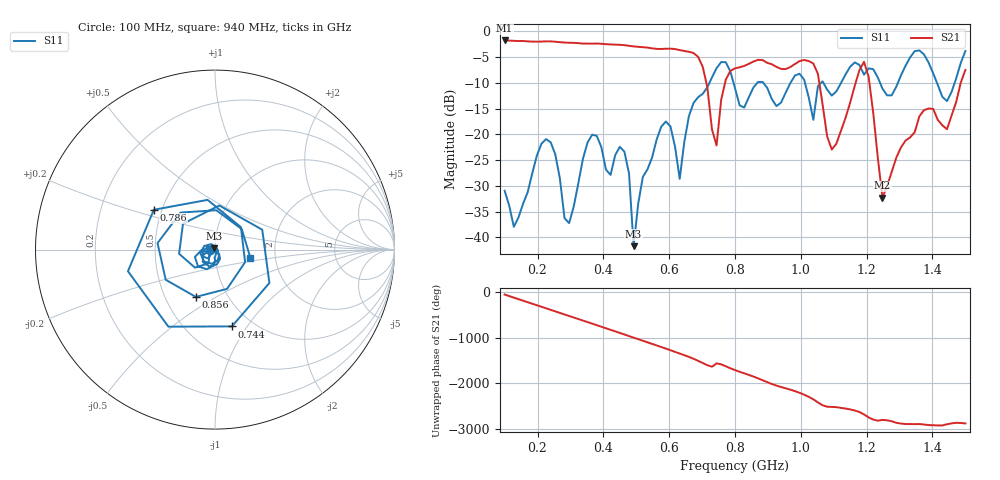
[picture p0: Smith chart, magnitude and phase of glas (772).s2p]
! NanoVNA-App
! Date: 2025-09-25 16:01:29
! Start: 100MHz Stop: 1,5GHz Points: 101
! S-Parameter data: F S11 S21 S12 S22
# Hz S RI R 50
!  Frequency  S11_Real  S11_Imag  S21_Real  S21_Imag  S12_Real  S12_Imag  S22_Real  S22_Imag
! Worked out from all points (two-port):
!   101 points, 100 MHz to 1.5 GHz, reference 50 ohm
!   highest |S21| = -1.80 dB at 100 MHz (marker M1); lowest = -32.3 dB at 1.248 GHz (marker M2)
!   |S21| within 3 dB of the highest: start of sweep to 684.6 MHz
!   lowest |S11| = -41.7 dB at 492 MHz (marker M3), VSWR 1.02, Z = 49.5 + j0.617 ohm
!   |S11| at or under -10 dB: start of sweep to 722.5 MHz; 795.4 MHz to 868 MHz (72.54 MHz wide, 8.72 % of centre); 886 MHz to 968.8 MHz (82.86 MHz wide, 8.93 % of centre)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
!   S12 and S22 are empty: the file has one direction only
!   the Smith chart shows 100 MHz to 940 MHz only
!   S11 on the Smith chart (normalised r, x): 100 MHz: 0.94, -0.01; 744 MHz: 0.80, -0.85; 786 MHz: 0.45, +0.24; 856 MHz: 0.71, -0.41; 940 MHz: 1.48, -0.15
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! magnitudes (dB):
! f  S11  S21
! 100 MHz  -30.9  -1.8
! 128 MHz  -37.9  -1.9
! 226 MHz  -20.9  -2.0
! 296 MHz  -37.2  -2.2
! 338 MHz  -24.7  -2.4
! 464 MHz  -23.4  -2.7
! 492 MHz  -41.7  -3.0
! 576 MHz  -18.5  -3.5
! 632 MHz  -28.6  -3.7
! 702 MHz  -12.1  -6.9
! 744 MHz  -7.2  -22.2
! 786 MHz  -7.8  -7.7
! 800 MHz  -11.1  -7.2
! 856 MHz  -10.9  -5.9
! 940 MHz  -13.8  -7.3
! 1.038 GHz  -17.2  -6.3
! 1.094 GHz  -12.5  -22.9
! 1.192 GHz  -8.4  -5.9
! 1.248 GHz  -11.1  -32.3
! 1.276 GHz  -12.4  -27.3
! 1.444 GHz  -13.6  -19.0
! 1.5 GHz  -3.8  -7.5
